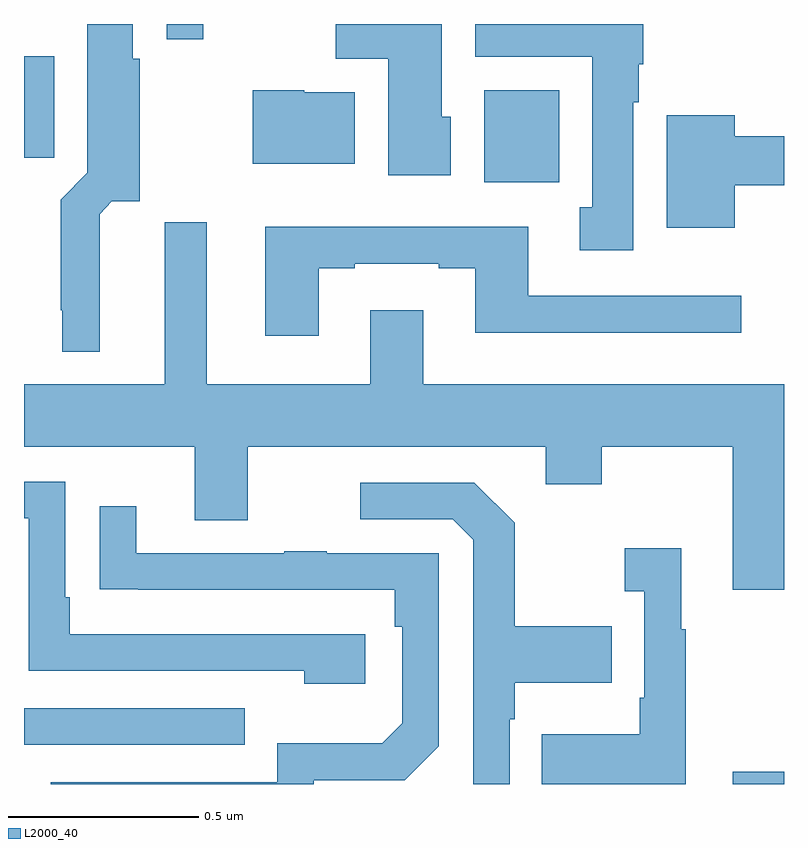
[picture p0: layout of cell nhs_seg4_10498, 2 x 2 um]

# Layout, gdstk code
import gdstk
lib = gdstk.Library(unit=1e-6, precision=1e-09)
def R(c, l, rs):  # rectangles x0, y0, x1, y1
    for r in rs: c.add(gdstk.rectangle(r[:2], r[2:], *l))
def P(c, l, *ps):  # polygons
    for p in ps: c.add(gdstk.Polygon(p, *l))
L2000_40 = (2000, 40)

nhs_seg4_10498 = lib.new_cell('nhs_seg4_10498')
R(nhs_seg4_10498, L2000_40, [(241.865,827.9,242,827.932), (240,828.003,240.581,828.099), (241.211,829.484,241.408,829.726), (240,829.548,240.079,829.815), (240.375,829.86,240.472,829.9)])
P(nhs_seg4_10498, L2000_40, [(240.199,829.4),(240.231,829.433),(240.304,829.433),(240.304,829.809),(240.286,829.809),(240.286,829.9),(240.167,829.9),(240.167,829.508),(240.097,829.438),(240.097,829.147),(240.101,829.147),(240.101,829.037),(240.199,829.037)],
  [(241.123,829.656),(241.099,829.656),(241.099,829.9),(240.82,829.9),(240.82,829.808),(240.959,829.808),(240.959,829.502),(241.123,829.502)],
  [(241.603,829.694),(241.618,829.694),(241.618,829.794),(241.63,829.794),(241.63,829.9),(241.187,829.9),(241.187,829.814),(241.496,829.814),(241.496,829.418),(241.463,829.418),(241.463,829.305),(241.603,829.305)],
  [(240.871,829.72),(240.738,829.72),(240.738,829.726),(240.602,829.726),(240.602,829.532),(240.871,829.532)],
  [(241.87,829.476),(242,829.476),(242,829.604),(241.87,829.604),(241.87,829.66),(241.691,829.66),(241.691,829.364),(241.87,829.364)],
  [(242,828.952),(241.051,828.952),(241.051,829.147),(240.911,829.147),(240.911,828.952),(240.481,828.952),(240.481,829.378),(240.371,829.378),(240.371,828.952),(240,828.952),(240,828.788),(240.449,828.788),(240.449,828.594),(240.589,828.594),(240.589,828.788),(241.373,828.788),(241.373,828.689),(241.521,828.689),(241.521,828.788),(241.865,828.788),(241.865,828.411),(242,828.411)],
  [(240.775,829.257),(240.871,829.257),(240.871,829.269),(241.091,829.269),(241.091,829.257),(241.187,829.257),(241.187,829.088),(241.888,829.088),(241.888,829.185),(241.327,829.185),(241.327,829.366),(240.635,829.366),(240.635,829.08),(240.775,829.08)],
  [(240.898,828.294),(240.121,828.294),(240.121,828.391),(240.108,828.391),(240.108,828.696),(240,828.696),(240,828.6),(240.012,828.6),(240.012,828.198),(240.737,828.198),(240.737,828.164),(240.898,828.164)],
  [(241.278,828.071),(241.291,828.071),(241.291,828.167),(241.547,828.167),(241.547,828.315),(241.291,828.315),(241.291,828.587),(241.185,828.693),(240.885,828.693),(240.885,828.597),(241.128,828.597),(241.182,828.543),(241.182,827.9),(241.278,827.9)],
  [(240.762,827.91),(241.002,827.91),(241.092,828),(241.092,828.507),(240.797,828.507),(240.797,828.512),(240.685,828.512),(240.685,828.507),(240.295,828.507),(240.295,828.631),(240.199,828.631),(240.199,828.412),(240.301,828.412),(240.301,828.411),(240.976,828.411),(240.976,828.314),(240.996,828.314),(240.996,828.06),(240.943,828.007),(240.666,828.007),(240.666,827.904),(240.071,827.904),(240.071,827.9),(240.762,827.9)],
  [(241.741,828.307),(241.729,828.307),(241.729,828.52),(241.581,828.52),(241.581,828.407),(241.632,828.407),(241.632,828.127),(241.62,828.127),(241.62,828.031),(241.363,828.031),(241.363,827.9),(241.741,827.9)])

lib.write_gds('nhs_seg4_10498.gds')
